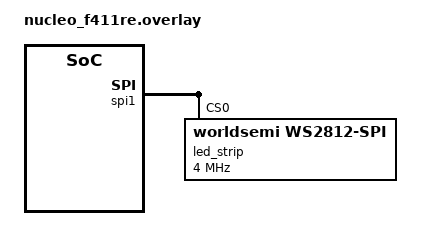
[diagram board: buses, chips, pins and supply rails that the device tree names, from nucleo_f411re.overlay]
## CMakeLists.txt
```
cmake_minimum_required(VERSION 3.20.0)

set(BOARD_FLASH_RUNNER openocd)
set(BOARD_DEBUG_RUNNER openocd)

find_package(Zephyr REQUIRED HINTS $ENV{ZEPHYR_BASE})

project(Demo)
target_sources(app PRIVATE src/main.c)
```

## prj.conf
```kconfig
CONFIG_DEBUG=y
CONFIG_GPIO=y

CONFIG_CONSOLE=y
CONFIG_SERIAL=y
CONFIG_UART_CONSOLE=y
CONFIG_UART_STM32=y

CONFIG_LOG=y
CONFIG_LOG_BACKEND_UART=y
CONFIG_LOG_DEFAULT_LEVEL=3

CONFIG_CBPRINTF_FP_SUPPORT=y

CONFIG_FPU=y

# CONFIG_ICM4268X_DECODER=y
# CONFIG_ICM4268X_TRIGGER_GLOBAL_THREAD=y # probabilmente questo va abilitato
# CONFIG_ICM4268X_TRIGGER_OWN_THREAD=n

# CONFIG_LED_STRIP_LOG_LEVEL_DBG=y
# CONFIG_UART_ASYNC_API=y
# CONFIG_UART_USE_RUNTIME_CONFIGURE=y

# --- SOTTOSISTEMA LED ---
CONFIG_LED_STRIP=y

# --- ABILITAZIONE SERIALE E DMA BASE ---
CONFIG_DMA=y
CONFIG_DCACHE=n

# --- DRIVER SPECIFICI STM32 ---
# CONFIG_UART_STM32=y
# CONFIG_DMA_STM32=y

# --- API ASINCRONA (Richiesta dal WS2812) ---
# CONFIG_UART_ASYNC_API=y

# CONFIG_HEAP_MEM_POOL_SIZE=4096

# Attiva i regolatori
# CONFIG_REGULATOR=y

# Abilita il generatore di numeri causali
CONFIG_TEST_RANDOM_GENERATOR=y
#CONFIG_ENTROPY_GENERATOR=y

#mavlink stuff
CONFIG_MAVWRAP=y
CONFIG_MAVWRAP_TRANSPORT_UART=y
CONFIG_SERIAL=y
CONFIG_UART_INTERRUPT_DRIVEN=y
CONFIG_MAVWRAP_DIALECT_COMMON=y
```

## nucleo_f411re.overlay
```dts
#include <zephyr/dt-bindings/led/led.h>

/ {

};

/* See: https://github.com/zephyrproject-rtos/zephyr/blob/8445f9958c756bc91931882c07e174e9650e55c9/samples/drivers/led/led_strip/boards/nucleo_l476rg.overlay#L13-L25 */
&spi1 {
    status = "okay";

    led_strip: ws2812_strip@0 {
        status = "okay";
        compatible = "worldsemi,ws2812-spi";

        reg = <0>;
        spi-max-frequency = <4000000>;
        frame-format = <32768>;

        chain-length = <47>;
        spi-one-frame = <0x70>;
        spi-zero-frame = <0x40>;
        color-mapping = <LED_COLOR_ID_GREEN
                         LED_COLOR_ID_RED
                         LED_COLOR_ID_BLUE>;
    };
};
```

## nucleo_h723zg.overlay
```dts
#include <zephyr/dt-bindings/led/led.h>

/ {

};

&spi1 {
    status = "okay";

    led_strip: ws2812_strip@0 {
        status = "okay";
        compatible = "worldsemi,ws2812-spi";

        reg = <0>;
        spi-max-frequency = <DT_FREQ_K(2400)>;
        spi-zero-frame = <4>; // 0b100
        spi-one-frame = <6>; // 0b110
        bits-per-symbol = <3>;

        chain-length = <50>;
        color-mapping = <LED_COLOR_ID_GREEN
                         LED_COLOR_ID_RED
                         LED_COLOR_ID_BLUE>;
    };
};
```

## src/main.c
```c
#include <zephyr/drivers/led_strip.h>
#include <zephyr/logging/log.h>
#include <zephyr/random/random.h>

LOG_MODULE_REGISTER(main);

#define STRIP_NODE DT_NODELABEL(led_strip)
#define NUM_PIXELS DT_PROP(STRIP_NODE, chain_length)

static const struct device *const strip = DEVICE_DT_GET(STRIP_NODE);

// Holds led strip status
static struct led_rgb pixels[NUM_PIXELS];

static inline uint8_t rand8(void) { return (uint8_t)sys_rand32_get(); }

static struct led_rgb random_color(void) {
  return (struct led_rgb){
      .r = rand8(),
      .g = rand8(),
      .b = rand8(),
  };
}

static struct led_rgb wheel_color(uint8_t pos) {
  if (pos < 85) {
    return (struct led_rgb){
        .r = (uint8_t)(255 - pos * 3), .g = (uint8_t)(pos * 3), .b = 0};
  } else if (pos < 170) {
    pos -= 85;
    return (struct led_rgb){
        .r = 0, .g = (uint8_t)(255 - pos * 3), .b = (uint8_t)(pos * 3)};
  }

  pos -= 170;
  return (struct led_rgb){
      .r = (uint8_t)(pos * 3), .g = 0, .b = (uint8_t)(255 - pos * 3)};
}

static void clear_pixels(void) { memset(pixels, 0, sizeof(pixels)); }

static int show_pixels(void) {
  return led_strip_update_rgb(strip, pixels, NUM_PIXELS);
}

static void game_single_dot(const struct led_rgb *color) {
  int pos = 0;

  for (int step = 0; step < NUM_PIXELS * 2; step++) {
    clear_pixels();
    pixels[pos] = *color;
    show_pixels();
    k_sleep(K_MSEC(30));
    pos = (pos + 1) % NUM_PIXELS;
  }
}

static void game_tail_chase(const struct led_rgb *color) {
  const int tail_len = 5;

  for (int step = 0; step < NUM_PIXELS * 2; step++) {
    clear_pixels();

    for (int tail = 0; tail < tail_len; tail++) {
      int idx = (step - tail + NUM_PIXELS) % NUM_PIXELS;
      int scale = 255 - tail * 55;

      pixels[idx].r = (uint8_t)((color->r * scale) / 255);
      pixels[idx].g = (uint8_t)((color->g * scale) / 255);
      pixels[idx].b = (uint8_t)((color->b * scale) / 255);
    }

    show_pixels();
    k_sleep(K_MSEC(25));
  }
}

static void game_color_wipe(const struct led_rgb *color) {
  clear_pixels();

  for (int i = 0; i < NUM_PIXELS; i++) {
    pixels[i] = *color;
    show_pixels();
    k_sleep(K_MSEC(20));
  }
}

static void game_theater_chase(const struct led_rgb *color) {
  for (int cycle = 0; cycle < 4; cycle++) {
    for (int phase = 0; phase < 3; phase++) {
      clear_pixels();

      for (int i = phase; i < NUM_PIXELS; i += 3) {
        pixels[i] = *color;
      }

      show_pixels();
      k_sleep(K_MSEC(70));
    }
  }
}

static void game_bounce(const struct led_rgb *color) {
  for (int repeat = 0; repeat < 2; repeat++) {
    for (int pos = 0; pos < NUM_PIXELS; pos++) {
      clear_pixels();
      pixels[pos] = *color;
      show_pixels();
      k_sleep(K_MSEC(35));
    }

    for (int pos = NUM_PIXELS - 2; pos > 0; pos--) {
      clear_pixels();
      pixels[pos] = *color;
      show_pixels();
      k_sleep(K_MSEC(35));
    }
  }
}

static void game_blink_all(const struct led_rgb *color) {
  for (int cycle = 0; cycle < 6; cycle++) {
    for (int i = 0; i < NUM_PIXELS; i++) {
      pixels[i] = *color;
    }
    show_pixels();
    k_sleep(K_MSEC(120));

    clear_pixels();
    show_pixels();
    k_sleep(K_MSEC(80));
  }
}

static void game_alternate(const struct led_rgb *color) {
  for (int phase = 0; phase < 4; phase++) {
    clear_pixels();

    for (int i = phase % 2; i < NUM_PIXELS; i += 2) {
      pixels[i] = *color;
    }

    show_pixels();
    k_sleep(K_MSEC(90));
  }
}

static void game_pair_run(const struct led_rgb *color) {
  for (int pos = 0; pos < NUM_PIXELS; pos++) {
    clear_pixels();
    pixels[pos] = *color;
    pixels[(pos + 1) % NUM_PIXELS] = *color;
    show_pixels();
    k_sleep(K_MSEC(30));
  }
}

static void game_sparkle(const struct led_rgb *color) {
  for (int step = 0; step < 30; step++) {
    clear_pixels();

    for (int j = 0; j < 5; j++) {
      int idx = sys_rand32_get() % NUM_PIXELS;
      struct led_rgb sparkle = *color;
      int fade = 100 + (sys_rand32_get() % 156);
      sparkle.r = (uint8_t)((sparkle.r * fade) / 255);
      sparkle.g = (uint8_t)((sparkle.g * fade) / 255);
      sparkle.b = (uint8_t)((sparkle.b * fade) / 255);
      pixels[idx] = sparkle;
    }

    show_pixels();
    k_sleep(K_MSEC(40));
  }
}

static void game_gradient_sweep(const struct led_rgb *color) {
  for (int offset = 0; offset < NUM_PIXELS; offset++) {
    for (int i = 0; i < NUM_PIXELS; i++) {
      int scale = (255 * i) / (NUM_PIXELS - 1);
      int idx = (i + offset) % NUM_PIXELS;
      pixels[idx].r = (uint8_t)((color->r * scale) / 255);
      pixels[idx].g = (uint8_t)((color->g * scale) / 255);
      pixels[idx].b = (uint8_t)((color->b * scale) / 255);
    }

    show_pixels();
    k_sleep(K_MSEC(30));
  }
}

static void game_random_scatter(const struct led_rgb *color) {
  clear_pixels();

  for (int step = 0; step < 35; step++) {
    int idx = sys_rand32_get() % NUM_PIXELS;
    pixels[idx] = *color;
    pixels[(idx + 3) % NUM_PIXELS] = *color;

    show_pixels();
    k_sleep(K_MSEC(45));
  }
}

static void game_segment_run(const struct led_rgb *color) {
  const int segment = 6;

  for (int pos = 0; pos < NUM_PIXELS + segment; pos++) {
    clear_pixels();

    for (int i = 0; i < segment; i++) {
      pixels[(pos + i) % NUM_PIXELS] = *color;
    }

    show_pixels();
    k_sleep(K_MSEC(35));
  }
}

static void game_pulse_all(const struct led_rgb *color) {
  for (int step = 0; step < 2; step++) {
    for (int bright = 0; bright <= 255; bright += 25) {
      for (int i = 0; i < NUM_PIXELS; i++) {
        pixels[i].r = (uint8_t)((color->r * bright) / 255);
        pixels[i].g = (uint8_t)((color->g * bright) / 255);
        pixels[i].b = (uint8_t)((color->b * bright) / 255);
      }
      show_pixels();
      k_sleep(K_MSEC(35));
    }

    for (int bright = 255; bright >= 0; bright -= 25) {
      for (int i = 0; i < NUM_PIXELS; i++) {
        pixels[i].r = (uint8_t)((color->r * bright) / 255);
        pixels[i].g = (uint8_t)((color->g * bright) / 255);
        pixels[i].b = (uint8_t)((color->b * bright) / 255);
      }
      show_pixels();
      k_sleep(K_MSEC(35));
    }
  }
}

static void game_wheel_cycle(const struct led_rgb *color) {
  ARG_UNUSED(color);

  for (int offset = 0; offset < NUM_PIXELS; offset++) {
    for (int i = 0; i < NUM_PIXELS; i++) {
      pixels[i] =
          wheel_color((uint8_t)((i * 256 / NUM_PIXELS + offset * 8) & 0xff));
    }
    show_pixels();
    k_sleep(K_MSEC(35));
  }
}

static void game_rainbow(const struct led_rgb *color) {
  ARG_UNUSED(color);

  for (int shift = 0; shift < 256; shift += 8) {
    for (int i = 0; i < NUM_PIXELS; i++) {
      pixels[i] = wheel_color((uint8_t)((i * 256 / NUM_PIXELS + shift) & 0xff));
    }
    show_pixels();
    k_sleep(K_MSEC(35));
  }
}

typedef void (*light_game_t)(const struct led_rgb *color);

static const light_game_t games[] = {
    game_single_dot,     game_tail_chase,     game_color_wipe,
    game_theater_chase,  game_bounce,         game_blink_all,
    game_alternate,      game_pair_run,       game_sparkle,
    game_gradient_sweep, game_random_scatter, game_segment_run,
    game_pulse_all,      game_wheel_cycle,    game_rainbow,
};

static const char *const game_names[] = {
    "Single Dot", "Tail Chase",     "Color Wipe",     "Theater Chase",
    "Bounce",     "Blink All",      "Alternate",      "Pair Run",
    "Sparkle",    "Gradient Sweep", "Random Scatter", "Segment Run",
    "Pulse All",  "Wheel Cycle",    "Rainbow",
};

int main(void) {
  if (!device_is_ready(strip)) {
    LOG_ERR("Errore: dispositivo LED strip non pronto.\n");
    return -ENODEV;
  }

  LOG_INF("Avvio sequenza di giochi luminosi per %d LED...\n", NUM_PIXELS);

  const int game_count = ARRAY_SIZE(games);

  while (1) {
    for (int game_idx = 0; game_idx < game_count; game_idx++) {
      struct led_rgb color = random_color();
      LOG_INF("Gioco %d/%d: %s - colore R:%u G:%u B:%u\n", game_idx + 1,
              game_count, game_names[game_idx], color.r, color.g, color.b);

      games[game_idx](&color);
      k_sleep(K_MSEC(200));
    }
  }

  return 0;
}
```

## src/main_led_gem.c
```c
#include <zephyr/kernel.h>
#include <zephyr/drivers/led_strip.h>
#include <zephyr/drivers/uart.h>
#include <zephyr/device.h>
#include <zephyr/sys/util.h>
#include <zephyr/random/random.h>
#include <string.h>
#include <soc.h>

/* Recupera i dati dall'overlay */
#define STRIP_NODE DT_NODELABEL(led_strip)
#define NUM_PIXELS DT_PROP(STRIP_NODE, chain_length)

static const struct device *const strip = DEVICE_DT_GET(STRIP_NODE);
static const struct device *const ws_uart = DEVICE_DT_GET(DT_NODELABEL(uart4));
static struct led_rgb pixels[NUM_PIXELS];

typedef enum ws_select {
    WS_MCU = 0,
    WS_RING
} ws_select_t;

int ws_strip_swap(ws_select_t* current_strip){
    USART_TypeDef *ws_uart_reg = (USART_TypeDef *)DT_REG_ADDR(DT_NODELABEL(uart4));


    if(!device_is_ready(ws_uart)){
        printk("Errore: UART non pronta.\n");
        return -ENODEV;
    }

    int ret = uart_tx_abort(ws_uart);
    if (ret) {
        printk("Errore: niente da abortire nella trasmissione UART. %d, \n", ret);
        //return ret;
    }

    uint32_t cr1 = ws_uart_reg->CR1;
    ws_uart_reg->CR1 &= ~USART_CR1_UE; // disable usart, necessary to change SWAP bit

    if(*current_strip == WS_MCU){
        ws_uart_reg->CR2 |= USART_CR2_SWAP; // enable swap: TX on PB8
        *current_strip = WS_RING;
    }
    else{
        ws_uart_reg->CR2 &= ~USART_CR2_SWAP; // disable swap: TX on PB9
        *current_strip = WS_MCU;
    }

    ws_uart_reg->CR1 = cr1; // restore CR1 with UE bit set to re-enable usart

    return 0;
}

static inline uint8_t rand8(void)
{
    return (uint8_t)sys_rand32_get();
}

static struct led_rgb random_color(void)
{
    return (struct led_rgb){
        .r = rand8(),
        .g = rand8(),
        .b = rand8(),
    };
}

static struct led_rgb wheel_color(uint8_t pos)
{
    if (pos < 85) {
        return (struct led_rgb){.r = (uint8_t)(255 - pos * 3), .g = (uint8_t)(pos * 3), .b = 0};
    } else if (pos < 170) {
        pos -= 85;
        return (struct led_rgb){.r = 0, .g = (uint8_t)(255 - pos * 3), .b = (uint8_t)(pos * 3)};
    }

    pos -= 170;
    return (struct led_rgb){.r = (uint8_t)(pos * 3), .g = 0, .b = (uint8_t)(255 - pos * 3)};
}

static void clear_pixels(void)
{
    memset(pixels, 0, sizeof(pixels));
}

static int show_pixels(void)
{
    return led_strip_update_rgb(strip, pixels, NUM_PIXELS);
}

static void game_single_dot(const struct led_rgb *color)
{
    int pos = 0;

    for (int step = 0; step < NUM_PIXELS * 2; step++) {
        clear_pixels();
        pixels[pos] = *color;
        show_pixels();
        k_sleep(K_MSEC(30));
        pos = (pos + 1) % NUM_PIXELS;
    }
}

static void game_tail_chase(const struct led_rgb *color)
{
    const int tail_len = 5;

    for (int step = 0; step < NUM_PIXELS * 2; step++) {
        clear_pixels();

        for (int tail = 0; tail < tail_len; tail++) {
            int idx = (step - tail + NUM_PIXELS) % NUM_PIXELS;
            int scale = 255 - tail * 55;

            pixels[idx].r = (uint8_t)((color->r * scale) / 255);
            pixels[idx].g = (uint8_t)((color->g * scale) / 255);
            pixels[idx].b = (uint8_t)((color->b * scale) / 255);
        }

        show_pixels();
        k_sleep(K_MSEC(25));
    }
}

static void game_color_wipe(const struct led_rgb *color)
{
    clear_pixels();

    for (int i = 0; i < NUM_PIXELS; i++) {
        pixels[i] = *color;
        show_pixels();
        k_sleep(K_MSEC(20));
    }
}

static void game_theater_chase(const struct led_rgb *color)
{
    for (int cycle = 0; cycle < 4; cycle++) {
        for (int phase = 0; phase < 3; phase++) {
            clear_pixels();

            for (int i = phase; i < NUM_PIXELS; i += 3) {
                pixels[i] = *color;
            }

            show_pixels();
            k_sleep(K_MSEC(70));
        }
    }
}

static void game_bounce(const struct led_rgb *color)
{
    for (int repeat = 0; repeat < 2; repeat++) {
        for (int pos = 0; pos < NUM_PIXELS; pos++) {
            clear_pixels();
            pixels[pos] = *color;
            show_pixels();
            k_sleep(K_MSEC(35));
        }

        for (int pos = NUM_PIXELS - 2; pos > 0; pos--) {
            clear_pixels();
            pixels[pos] = *color;
            show_pixels();
            k_sleep(K_MSEC(35));
        }
    }
}

static void game_blink_all(const struct led_rgb *color)
{
    for (int cycle = 0; cycle < 6; cycle++) {
        for (int i = 0; i < NUM_PIXELS; i++) {
            pixels[i] = *color;
        }
        show_pixels();
        k_sleep(K_MSEC(120));

        clear_pixels();
        show_pixels();
        k_sleep(K_MSEC(80));
    }
}

static void game_alternate(const struct led_rgb *color)
{
    for (int phase = 0; phase < 4; phase++) {
        clear_pixels();

        for (int i = phase % 2; i < NUM_PIXELS; i += 2) {
            pixels[i] = *color;
        }

        show_pixels();
        k_sleep(K_MSEC(90));
    }
}

static void game_pair_run(const struct led_rgb *color)
{
    for (int pos = 0; pos < NUM_PIXELS; pos++) {
        clear_pixels();
        pixels[pos] = *color;
        pixels[(pos + 1) % NUM_PIXELS] = *color;
        show_pixels();
        k_sleep(K_MSEC(30));
    }
}

static void game_sparkle(const struct led_rgb *color)
{
    for (int step = 0; step < 30; step++) {
        clear_pixels();

        for (int j = 0; j < 5; j++) {
            int idx = sys_rand32_get() % NUM_PIXELS;
            struct led_rgb sparkle = *color;
            int fade = 100 + (sys_rand32_get() % 156);
            sparkle.r = (uint8_t)((sparkle.r * fade) / 255);
            sparkle.g = (uint8_t)((sparkle.g * fade) / 255);
            sparkle.b = (uint8_t)((sparkle.b * fade) / 255);
            pixels[idx] = sparkle;
        }

        show_pixels();
        k_sleep(K_MSEC(40));
    }
}

static void game_gradient_sweep(const struct led_rgb *color)
{
    for (int offset = 0; offset < NUM_PIXELS; offset++) {
        for (int i = 0; i < NUM_PIXELS; i++) {
            int scale = (255 * i) / (NUM_PIXELS - 1);
            int idx = (i + offset) % NUM_PIXELS;
            pixels[idx].r = (uint8_t)((color->r * scale) / 255);
            pixels[idx].g = (uint8_t)((color->g * scale) / 255);
            pixels[idx].b = (uint8_t)((color->b * scale) / 255);
        }

        show_pixels();
        k_sleep(K_MSEC(30));
    }
}

static void game_random_scatter(const struct led_rgb *color)
{
    clear_pixels();

    for (int step = 0; step < 35; step++) {
        int idx = sys_rand32_get() % NUM_PIXELS;
        pixels[idx] = *color;
        pixels[(idx + 3) % NUM_PIXELS] = *color;

        show_pixels();
        k_sleep(K_MSEC(45));
    }
}

static void game_segment_run(const struct led_rgb *color)
{
    const int segment = 6;

    for (int pos = 0; pos < NUM_PIXELS + segment; pos++) {
        clear_pixels();

        for (int i = 0; i < segment; i++) {
            pixels[(pos + i) % NUM_PIXELS] = *color;
        }

        show_pixels();
        k_sleep(K_MSEC(35));
    }
}

static void game_pulse_all(const struct led_rgb *color)
{
    for (int step = 0; step < 2; step++) {
        for (int bright = 0; bright <= 255; bright += 25) {
            for (int i = 0; i < NUM_PIXELS; i++) {
                pixels[i].r = (uint8_t)((color->r * bright) / 255);
                pixels[i].g = (uint8_t)((color->g * bright) / 255);
                pixels[i].b = (uint8_t)((color->b * bright) / 255);
            }
            show_pixels();
            k_sleep(K_MSEC(35));
        }

        for (int bright = 255; bright >= 0; bright -= 25) {
            for (int i = 0; i < NUM_PIXELS; i++) {
                pixels[i].r = (uint8_t)((color->r * bright) / 255);
                pixels[i].g = (uint8_t)((color->g * bright) / 255);
                pixels[i].b = (uint8_t)((color->b * bright) / 255);
            }
            show_pixels();
            k_sleep(K_MSEC(35));
        }
    }
}

static void game_wheel_cycle(const struct led_rgb *color)
{
    ARG_UNUSED(color);

    for (int offset = 0; offset < NUM_PIXELS; offset++) {
        for (int i = 0; i < NUM_PIXELS; i++) {
            pixels[i] = wheel_color((uint8_t)((i * 256 / NUM_PIXELS + offset * 8) & 0xff));
        }
        show_pixels();
        k_sleep(K_MSEC(35));
    }
}

static void game_rainbow(const struct led_rgb *color)
{
    ARG_UNUSED(color);

    for (int shift = 0; shift < 256; shift += 8) {
        for (int i = 0; i < NUM_PIXELS; i++) {
            pixels[i] = wheel_color((uint8_t)((i * 256 / NUM_PIXELS + shift) & 0xff));
        }
        show_pixels();
        k_sleep(K_MSEC(35));
    }
}

typedef void (*light_game_t)(const struct led_rgb *color);

static const light_game_t games[] = {
    game_single_dot,
    game_tail_chase,
    game_color_wipe,
    game_theater_chase,
    game_bounce,
    game_blink_all,
    game_alternate,
    game_pair_run,
    game_sparkle,
    game_gradient_sweep,
    game_random_scatter,
    game_segment_run,
    game_pulse_all,
    game_wheel_cycle,
    game_rainbow,
};

static const char *const game_names[] = {
    "Single Dot",
    "Tail Chase",
    "Color Wipe",
    "Theater Chase",
    "Bounce",
    "Blink All",
    "Alternate",
    "Pair Run",
    "Sparkle",
    "Gradient Sweep",
    "Random Scatter",
    "Segment Run",
    "Pulse All",
    "Wheel Cycle",
    "Rainbow",
};

int main(void)
{
    

    /* 1. Verifica inizializzazione */
    if (!device_is_ready(strip)) {
        printk("Errore: dispositivo LED strip non pronto.\n");
        return -ENODEV;
    }
    
    printk("Avvio sequenza di giochi luminosi per %d LED...\n", (int)NUM_PIXELS);

    ws_select_t current_strip = WS_MCU;
    if (ws_strip_swap(&current_strip) != 0) {
        printk("Errore: impossibile selezionare la strip del ring.\n");
        return -EIO;
    }

    printk("Usando strip del ring (ring) via UART.\n");

    const int game_count = ARRAY_SIZE(games);

    while (1) {
        for (int game_idx = 0; game_idx < game_count; game_idx++) {
            struct led_rgb color = random_color();
            printk("Gioco %d/%d: %s - colore R:%u G:%u B:%u\n",
                   game_idx + 1,
                   game_count,
                   game_names[game_idx],
                   color.r,
                   color.g,
                   color.b);

            games[game_idx](&color);
            k_sleep(K_MSEC(200));
        }
    }

    return 0;
}
```
